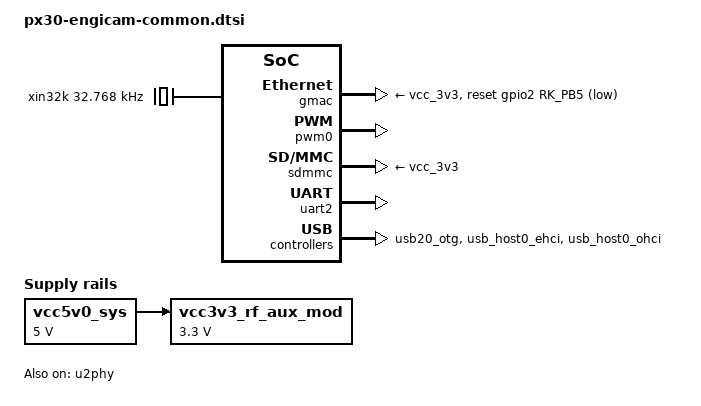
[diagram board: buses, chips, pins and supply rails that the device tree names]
// SPDX-License-Identifier: (GPL-2.0+ OR MIT)
/*
 * Copyright (c) 2020 Engicam srl
 * Copyright (c) 2020 Amarula Solutions
 * Copyright (c) 2020 Amarula Solutions(India)
 */

/ {
	vcc5v0_sys: vcc5v0-sys {
		compatible = "regulator-fixed";
		regulator-name = "vcc5v0_sys";	/* +5V */
		regulator-always-on;
		regulator-boot-on;
		regulator-min-microvolt = <5000000>;
		regulator-max-microvolt = <5000000>;
	};

	xin32k: xin32k {
		compatible = "fixed-clock";
		#clock-cells = <0>;
		clock-frequency = <32768>;
		clock-output-names = "xin32k";
	};

	vcc3v3_rf_aux_mod: vcc3v3-rf-aux-mod {
		compatible = "regulator-fixed";
		regulator-name = "vcc3v3_rf_aux_mod";
		regulator-min-microvolt = <3300000>;
		regulator-max-microvolt = <3300000>;
		regulator-always-on;
		regulator-boot-on;
		vin-supply = <&vcc5v0_sys>;
	};
};

&gmac {
	clock_in_out = "output";
	phy-supply = <&vcc_3v3>;	/* +3V3_SOM */
	snps,reset-active-low;
	snps,reset-delays-us = <0 50000 50000>;
	snps,reset-gpio = <&gpio2 RK_PB5 GPIO_ACTIVE_HIGH>;
	status = "okay";
};

&pwm0 {
	status = "okay";
};

&sdmmc {
	cap-sd-highspeed;
	card-detect-delay = <800>;
	vmmc-supply = <&vcc_3v3>;	/* +3V3_SOM */
	vqmmc-supply = <&vcc_3v3>;
	status = "okay";
};

&u2phy {
	status = "okay";

	u2phy_host: host-port {
		status = "okay";
	};

	u2phy_otg: otg-port {
		status = "okay";
	};
};

&uart2 {
	pinctrl-0 = <&uart2m1_xfer>;
	status = "okay";
};

&usb20_otg {
	status = "okay";
};

&usb_host0_ehci {
	status = "okay";
};

&usb_host0_ohci {
	status = "okay";
};
